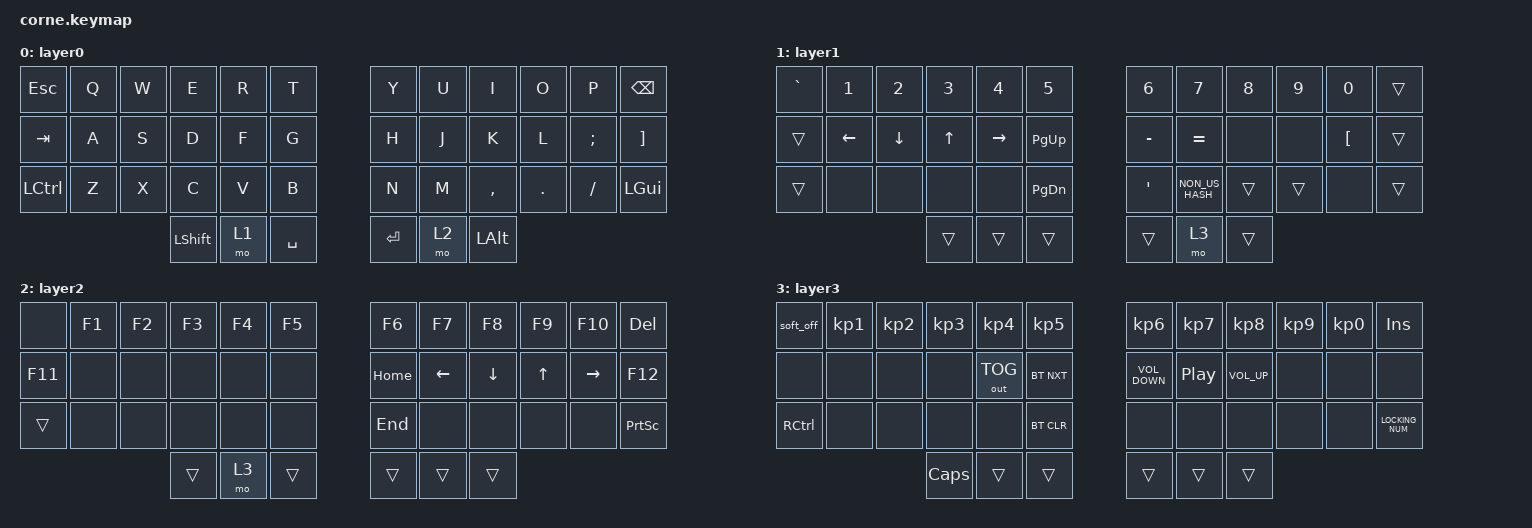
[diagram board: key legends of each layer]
/*
  * Copyright (c) 2020 The ZMK Contributors
  *
  * SPDX-License-Identifier: MIT
  */

#include <behaviors.dtsi>
#include <dt-bindings/zmk/bt.h>
#include <dt-bindings/zmk/keys.h>
#include <dt-bindings/zmk/outputs.h>

&soft_off {
    hold-time-ms = <2000>; // Only turn off it the key is held for 5 seconds or longer.
};

/ {
    keymap {
        compatible = "zmk,keymap";

        layer0 {
            bindings = <
&kp ESCAPE        &kp Q  &kp W  &kp E       &kp R  &kp T        &kp Y      &kp U  &kp I         &kp O    &kp P          &kp BACKSPACE
&kp TAB           &kp A  &kp S  &kp D       &kp F  &kp G        &kp H      &kp J  &kp K         &kp L    &kp SEMICOLON  &kp RIGHT_BRACKET
&kp LEFT_CONTROL  &kp Z  &kp X  &kp C       &kp V  &kp B        &kp N      &kp M  &kp COMMA     &kp DOT  &kp SLASH      &kp LEFT_GUI
                                &kp LSHIFT  &mo 1  &kp SPACE    &kp ENTER  &mo 2  &kp LEFT_ALT
            >;
        };

        layer1 {
            bindings = <
&kp GRAVE  &kp N1    &kp N2    &kp N3  &kp N4     &kp N5           &kp N6            &kp N7           &kp N8  &kp N9  &kp N0            &trans
&trans     &kp LEFT  &kp DOWN  &kp UP  &kp RIGHT  &kp PAGE_UP      &kp MINUS         &kp EQUAL        &none   &none   &kp LEFT_BRACKET  &trans
&trans     &none     &none     &none   &none      &kp PAGE_DOWN    &kp SINGLE_QUOTE  &kp NON_US_HASH  &trans  &trans  &none             &trans
                               &trans  &trans     &trans           &trans            &mo 3            &trans
            >;
        };

        layer2 {
            bindings = <
&none    &kp F1  &kp F2  &kp F3  &kp F4  &kp F5    &kp F6    &kp F7    &kp F8    &kp F9  &kp F10    &kp DELETE
&kp F11  &none   &none   &none   &none   &none     &kp HOME  &kp LEFT  &kp DOWN  &kp UP  &kp RIGHT  &kp F12
&trans   &none   &none   &none   &none   &none     &kp END   &none     &none     &none   &none      &kp PRINTSCREEN
                         &trans  &mo 3   &trans    &trans    &trans    &trans
            >;
        };

        layer3 {
            bindings = <
&soft_off          &kp KP_NUMBER_1  &kp KP_N2  &kp KP_N3  &kp KP_N4     &kp KP_N5     &kp KP_N6          &kp KP_N7  &kp KP_N8        &kp KP_N9  &kp KP_N0  &kp INSERT
&none              &none            &none      &none      &out OUT_TOG  &bt BT_NXT    &kp C_VOLUME_DOWN  &kp C_PP   &kp C_VOLUME_UP  &none      &none      &none
&kp RIGHT_CONTROL  &none            &none      &none      &none         &bt BT_CLR    &none              &none      &none            &none      &none      &kp LOCKING_NUM
                                               &kp CAPS   &trans        &trans        &trans             &trans     &trans
            >;
        };
    };
};
